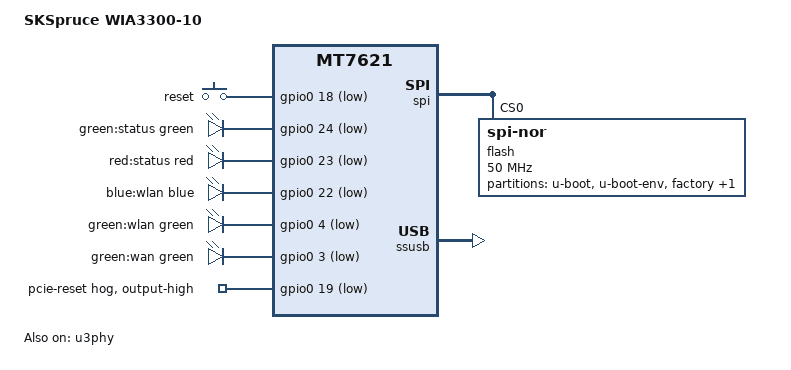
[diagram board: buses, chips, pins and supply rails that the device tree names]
// SPDX-License-Identifier: GPL-2.0-or-later

/dts-v1/;

#include "mt7621.dtsi"

#include <dt-bindings/gpio/gpio.h>
#include <dt-bindings/input/input.h>
#include <dt-bindings/leds/common.h>

/ {
	compatible = "skspruce,wia3300-10", "mediatek,mt7621-soc";
	model = "SKSpruce WIA3300-10";

	aliases {
		button-boot1 = &key_reset;
		led-status1 = &led_green;
		led-status2 = &led_red;
		serial0 = &uart0;
		spi0 = &spi;
	};

	chosen {
		stdout-path = &uart0;
	};

	config {
		button-reset-env;
	};

	gpio-keys {
		compatible = "gpio-keys";

		key_reset: reset {
			label = "reset";
			gpios = <&gpio0 18 GPIO_ACTIVE_LOW>;
			linux,code = <KEY_RESTART>;
		};
	};

	gpio-leds {
		compatible = "gpio-leds";

		led_green: led-status_green {
			label = "green:status";
			color = <LED_COLOR_ID_GREEN>;
			function = LED_FUNCTION_STATUS;
			gpios = <&gpio0 24 GPIO_ACTIVE_LOW>;
			default-state = "on";
		};

		led_red: led-status_red {
			label = "red:status";
			color = <LED_COLOR_ID_RED>;
			function = LED_FUNCTION_STATUS;
			gpios = <&gpio0 23 GPIO_ACTIVE_LOW>;
			default-state = "off";
		};

		led-wlan_blue {
			label = "blue:wlan";
			color = <LED_COLOR_ID_BLUE>;
			function = LED_FUNCTION_WLAN;
			gpios = <&gpio0 22 GPIO_ACTIVE_LOW>;
			default-state = "off";
		};

		led-wlan_green {
			label = "green:wlan";
			color = <LED_COLOR_ID_GREEN>;
			function = LED_FUNCTION_WLAN;
			gpios = <&gpio0 4 GPIO_ACTIVE_LOW>;
			default-state = "off";
		};

		led-wan {
			label = "green:wan";
			color = <LED_COLOR_ID_GREEN>;
			function = LED_FUNCTION_WAN;
			gpios = <&gpio0 3 GPIO_ACTIVE_LOW>;
			default-state = "off";
		};
	};
};

&eth_pins {
	/delete-node/ rgmii2_pins;
};

&gpio0 {
	pcie-reset {
		gpio-hog;
		gpios = <19 GPIO_ACTIVE_LOW>;
		output-high;
	};
};

&spi {
	status = "okay";

	flash@0 {
		compatible = "jedec,spi-nor";
		reg = <0>;
		spi-max-frequency = <50000000>;

		partitions {
			compatible = "fixed-partitions";
			#address-cells = <1>;
			#size-cells = <1>;

			partition@0 {
				label = "u-boot";
				reg = <0x0000000 0x0030000>;
			};

			partition@30000 {
				label = "u-boot-env";
				reg = <0x0030000 0x0010000>;
			};

			partition@40000 {
				label = "factory";
				reg = <0x0040000 0x0010000>;
			};

			partition@50000 {
				label = "firmware";
				reg = <0x0050000 0x1fb0000>;
			};
		};
	};
};

&ssusb {
	status = "okay";
};

&state_default {
	/delete-node/ spi-nand_pins;
	/delete-node/ sdxc-nand_pins;
};

&u3phy {
	status = "okay";
};
